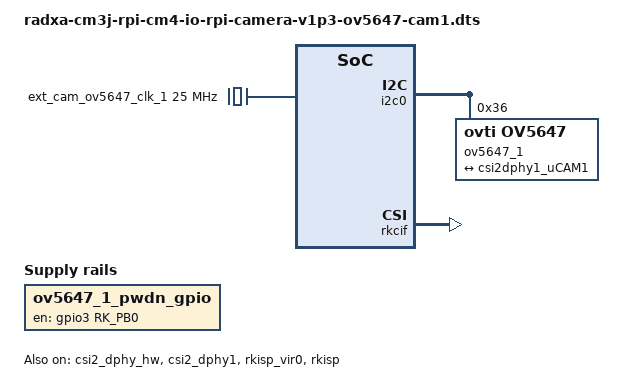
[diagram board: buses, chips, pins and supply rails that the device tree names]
/dts-v1/;
/plugin/;

#include <dt-bindings/gpio/gpio.h>
#include <dt-bindings/pinctrl/rockchip.h>

/ {
	metadata {
		title = "Enable Raspberry Pi Camera v1.3 on CAM1";
		compatible = "radxa,cm3j-rpi-cm4-io";
		category = "camera";
		exclusive = "csi2_dphy1";
		description = "Enable Raspberry Pi Camera v1.3 on CAM1.";
	};
};

&{/} {
	ext_cam_ov5647_clk_1: ext-cam-ov5647-clk-1 {
		status = "okay";
		compatible = "fixed-clock";
		clock-frequency = <25000000>;
		clock-output-names = "ext_cam_ov5647_clk_1";
		#clock-cells = <0>;
	};

	ov5647_1_pwdn_gpio: ov5647-1-pwdn-gpio {
		status = "okay";
		compatible = "regulator-fixed";
		regulator-name = "ov5647_1_pwdn_gpio";
		regulator-always-on;
		regulator-boot-on;
		enable-active-high;
		gpio = <&gpio3 RK_PB0 GPIO_ACTIVE_LOW>;
	};
};

&i2c0 {
	status = "okay";
	pinctrl-names = "default";
	pinctrl-0 = <&i2c0_xfer>;

	#address-cells = <1>;
	#size-cells = <0>;

	ov5647_1: ov5647-1@36 {
		status = "okay";
		compatible = "ovti,ov5647";
		reg = <0x36>;
		clocks = <&ext_cam_ov5647_clk_1>;
		clock-names = "xvclk";
		rockchip,camera-module-index = <0>;
		rockchip,camera-module-facing = "front";
		rockchip,camera-module-name = "rpi-camera-v1p3";
		rockchip,camera-module-lens-name = "default";

		port {
			ov5647_1_out: endpoint {
				remote-endpoint = <&csi2dphy1_uCAM1>;
				data-lanes = <1 2>;
			};
		};
	};
};

&csi2_dphy_hw {
	status = "okay";
};

&csi2_dphy1 {
	status = "okay";

	ports {
		#address-cells = <1>;
		#size-cells = <0>;

		port@0 {
			reg = <0>;
			#address-cells = <1>;
			#size-cells = <0>;

			csi2dphy1_uCAM1: endpoint@1 {
				reg = <1>;
				remote-endpoint = <&ov5647_1_out>;
				data-lanes = <1 2>;
			};
		};

		port@1 {
			reg = <1>;
			#address-cells = <1>;
			#size-cells = <0>;

			csi2dphy1_out: endpoint@1 {
				reg = <1>;
				remote-endpoint = <&isp0_in>;
			};
		};
	};
};

&rkisp_vir0 {
	status = "okay";

	port {
		#address-cells = <1>;
		#size-cells = <0>;

		isp0_in: endpoint@0 {
			reg = <0>;
			remote-endpoint = <&csi2dphy1_out>;
		};
	};
};

&rkisp {
	status = "okay";
};

&rkisp_mmu {
	status = "okay";
};

&rkcif_mmu {
	status = "okay";
};

&rkcif {
	status = "okay";
};
